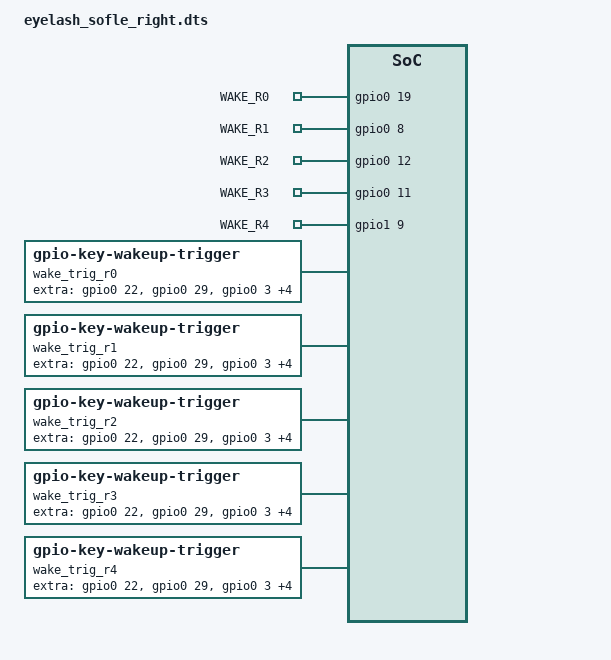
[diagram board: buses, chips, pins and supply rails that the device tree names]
/*
*
* Copyright (c) 2021 Darryl deHaan
* SPDX-License-Identifier: MIT
*
*/
#include "eyelash_sofle.dtsi"

&kscan0 {
     col-gpios
        = <&gpio0 22 GPIO_ACTIVE_HIGH>
         , <&gpio0 29 GPIO_ACTIVE_HIGH>
         , <&gpio0 3 GPIO_ACTIVE_HIGH>
         , <&gpio0 28 GPIO_ACTIVE_HIGH>
         , <&gpio0 30 GPIO_ACTIVE_HIGH>
         , <&gpio0 21 GPIO_ACTIVE_HIGH>
         , <&gpio0 23 GPIO_ACTIVE_HIGH>
         ;
};

&default_transform {
    col-offset = <7>;
};

{
    /* Same rows as left: watch all rows so any key can wake */
    wake_keys: gpio_keys {
        compatible = "gpio-keys";

        wake_r0: wake_r0 { label = "WAKE_R0";
            gpios = <&gpio0 19 (GPIO_ACTIVE_HIGH | GPIO_PULL_DOWN)>;
        };
        wake_r1: wake_r1 { label = "WAKE_R1";
            gpios = <&gpio0 8 (GPIO_ACTIVE_HIGH | GPIO_PULL_DOWN)>;
        };
        wake_r2: wake_r2 { label = "WAKE_R2";
            gpios = <&gpio0 12 (GPIO_ACTIVE_HIGH | GPIO_PULL_DOWN)>;
        };
        wake_r3: wake_r3 { label = "WAKE_R3";
            gpios = <&gpio0 11 (GPIO_ACTIVE_HIGH | GPIO_PULL_DOWN)>;
        };
        wake_r4: wake_r4 { label = "WAKE_R4";
            gpios = <&gpio1 9 (GPIO_ACTIVE_HIGH | GPIO_PULL_DOWN)>;
        };
    };

    /* Drive RIGHT columns during soft off */
    wake_trig_r0: wake_trig_r0 {
        compatible = "zmk,gpio-key-wakeup-trigger";
        trigger = <&wake_r0>;
        wakeup-source;
        extra-gpios = <
            &gpio0 22 GPIO_ACTIVE_HIGH
            &gpio0 29 GPIO_ACTIVE_HIGH
            &gpio0 3  GPIO_ACTIVE_HIGH
            &gpio0 28 GPIO_ACTIVE_HIGH
            &gpio0 30 GPIO_ACTIVE_HIGH
            &gpio0 21 GPIO_ACTIVE_HIGH
            &gpio0 23 GPIO_ACTIVE_HIGH
        >;
    };
    wake_trig_r1: wake_trig_r1 {
        compatible = "zmk,gpio-key-wakeup-trigger";
        trigger = <&wake_r1>;
        wakeup-source;
        extra-gpios = <&gpio0 22 GPIO_ACTIVE_HIGH
                       &gpio0 29 GPIO_ACTIVE_HIGH
                       &gpio0 3  GPIO_ACTIVE_HIGH
                       &gpio0 28 GPIO_ACTIVE_HIGH
                       &gpio0 30 GPIO_ACTIVE_HIGH
                       &gpio0 21 GPIO_ACTIVE_HIGH
                       &gpio0 23 GPIO_ACTIVE_HIGH>;
    };
    wake_trig_r2: wake_trig_r2 {
        compatible = "zmk,gpio-key-wakeup-trigger";
        trigger = <&wake_r2>;
        wakeup-source;
        extra-gpios = <&gpio0 22 GPIO_ACTIVE_HIGH
                       &gpio0 29 GPIO_ACTIVE_HIGH
                       &gpio0 3  GPIO_ACTIVE_HIGH
                       &gpio0 28 GPIO_ACTIVE_HIGH
                       &gpio0 30 GPIO_ACTIVE_HIGH
                       &gpio0 21 GPIO_ACTIVE_HIGH
                       &gpio0 23 GPIO_ACTIVE_HIGH>;
    };
    wake_trig_r3: wake_trig_r3 {
        compatible = "zmk,gpio-key-wakeup-trigger";
        trigger = <&wake_r3>;
        wakeup-source;
        extra-gpios = <&gpio0 22 GPIO_ACTIVE_HIGH
                       &gpio0 29 GPIO_ACTIVE_HIGH
                       &gpio0 3  GPIO_ACTIVE_HIGH
                       &gpio0 28 GPIO_ACTIVE_HIGH
                       &gpio0 30 GPIO_ACTIVE_HIGH
                       &gpio0 21 GPIO_ACTIVE_HIGH
                       &gpio0 23 GPIO_ACTIVE_HIGH>;
    };
    wake_trig_r4: wake_trig_r4 {
        compatible = "zmk,gpio-key-wakeup-trigger";
        trigger = <&wake_r4>;
        wakeup-source;
        extra-gpios = <&gpio0 22 GPIO_ACTIVE_HIGH
                       &gpio0 29 GPIO_ACTIVE_HIGH
                       &gpio0 3  GPIO_ACTIVE_HIGH
                       &gpio0 28 GPIO_ACTIVE_HIGH
                       &gpio0 30 GPIO_ACTIVE_HIGH
                       &gpio0 21 GPIO_ACTIVE_HIGH
                       &gpio0 23 GPIO_ACTIVE_HIGH>;
    };

    soft_off_wakeups: soft_off_wakeup_sources {
        compatible = "zmk,soft-off-wakeup-sources";
        wakeup-sources =
            <&wake_trig_r0 &wake_trig_r1 &wake_trig_r2 &wake_trig_r3 &wake_trig_r4>;
    };
};
